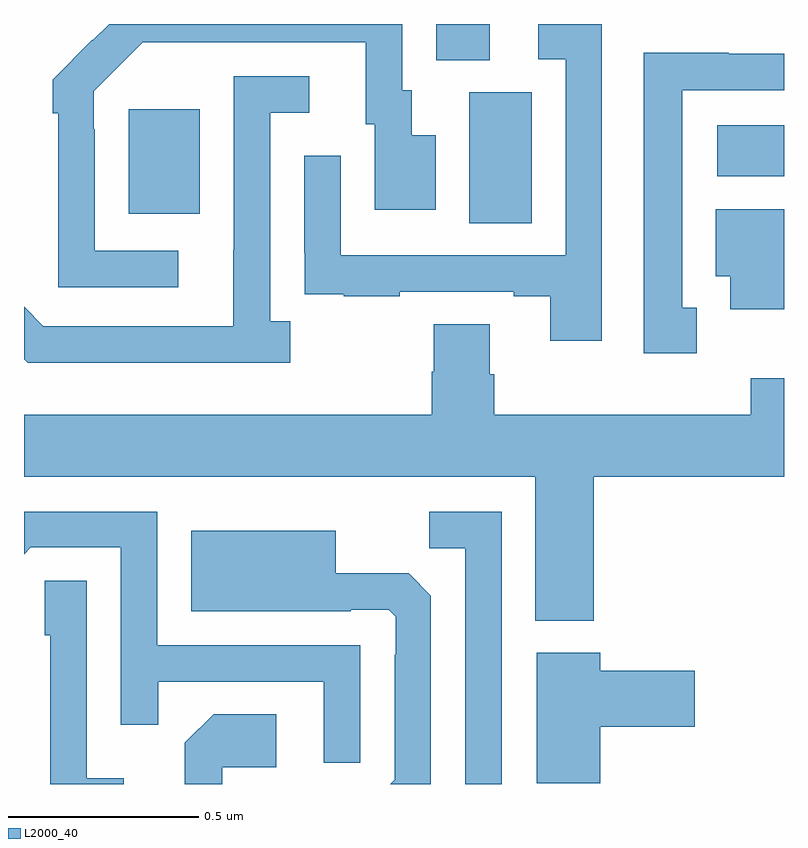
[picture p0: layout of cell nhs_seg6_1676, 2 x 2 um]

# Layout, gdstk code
import gdstk
lib = gdstk.Library(unit=1e-6, precision=1e-09)
def R(c, l, rs):  # rectangles x0, y0, x1, y1
    for r in rs: c.add(gdstk.rectangle(r[:2], r[2:], *l))
def P(c, l, *ps):  # polygons
    for p in ps: c.add(gdstk.Polygon(p, *l))
L2000_40 = (2000, 40)

nhs_seg6_1676 = lib.new_cell('nhs_seg6_1676')
R(nhs_seg6_1676, L2000_40, [(133.172,975.976,133.336,976.32), (132.275,976.001,132.463,976.276), (133.824,976.1,134,976.234), (133.085,976.405,133.225,976.5)])
P(nhs_seg6_1676, L2000_40, [(133.521,976.5),(133.353,976.5),(133.353,976.407),(133.425,976.407),(133.425,975.891),(132.834,975.891),(132.834,976.153),(132.738,976.153),(132.738,975.898),(132.739,975.898),(132.739,975.789),(132.841,975.789),(132.841,975.783),(132.989,975.783),(132.989,975.795),(133.289,975.795),(133.289,975.783),(133.385,975.783),(133.385,975.666),(133.521,975.666)],
  [(132.406,975.903),(132.186,975.903),(132.186,976.223),(132.183,976.223),(132.183,976.323),(132.312,976.452),(132.899,976.452),(132.899,976.236),(132.923,976.236),(132.923,976.011),(133.084,976.011),(133.084,976.207),(133.021,976.207),(133.021,976.326),(132.996,976.326),(132.996,976.5),(132.224,976.5),(132.181,976.457),(132.18,976.458),(132.075,976.353),(132.075,976.265),(132.09,976.265),(132.09,975.807),(132.406,975.807)],
  [(133.771,975.753),(133.732,975.753),(133.732,976.326),(134,976.326),(134,976.422),(133.854,976.422),(133.854,976.424),(133.631,976.424),(133.631,975.633),(133.771,975.633)],
  [(132.7,975.718),(132.648,975.718),(132.648,976.266),(132.751,976.266),(132.751,976.362),(132.552,976.362),(132.552,975.905),(132.551,975.905),(132.551,975.705),(132.051,975.705),(132,975.756),(132,975.618),(132.01,975.608),(132.7,975.608)],
  [(134,976.012),(133.82,976.012),(133.82,975.836),(133.859,975.836),(133.859,975.749),(134,975.749)],
  [(133.499,975.308),(134,975.308),(134,975.568),(133.913,975.568),(133.913,975.472),(133.238,975.472),(133.238,975.578),(133.225,975.578),(133.225,975.71),(133.078,975.71),(133.078,975.585),(133.073,975.585),(133.073,975.472),(132,975.472),(132,975.308),(133.346,975.308),(133.346,974.93),(133.499,974.93)],
  [(132.885,974.865),(132.351,974.865),(132.351,975.216),(132,975.216),(132,975.105),(132.018,975.123),(132.255,975.123),(132.255,974.656),(132.353,974.656),(132.353,974.769),(132.789,974.769),(132.789,974.556),(132.885,974.556)],
  [(133.257,975.216),(133.066,975.216),(133.066,975.121),(133.161,975.121),(133.161,974.5),(133.257,974.5)],
  [(133.071,974.996),(133.012,975.055),(132.82,975.055),(132.82,975.166),(132.44,975.166),(132.44,974.954),(132.86,974.954),(132.86,974.958),(132.96,974.958),(132.978,974.94),(132.978,974.84),(132.975,974.84),(132.975,974.511),(132.964,974.5),(133.071,974.5)],
  [(132.262,974.515),(132.165,974.515),(132.165,975.035),(132.054,975.035),(132.054,974.892),(132.069,974.892),(132.069,974.5),(132.262,974.5)],
  [(133.516,974.651),(133.765,974.651),(133.765,974.798),(133.516,974.798),(133.516,974.845),(133.349,974.845),(133.349,974.502),(133.516,974.502)],
  [(132.522,974.544),(132.664,974.544),(132.664,974.684),(132.499,974.684),(132.423,974.608),(132.423,974.5),(132.522,974.5)])

lib.write_gds('nhs_seg6_1676.gds')
